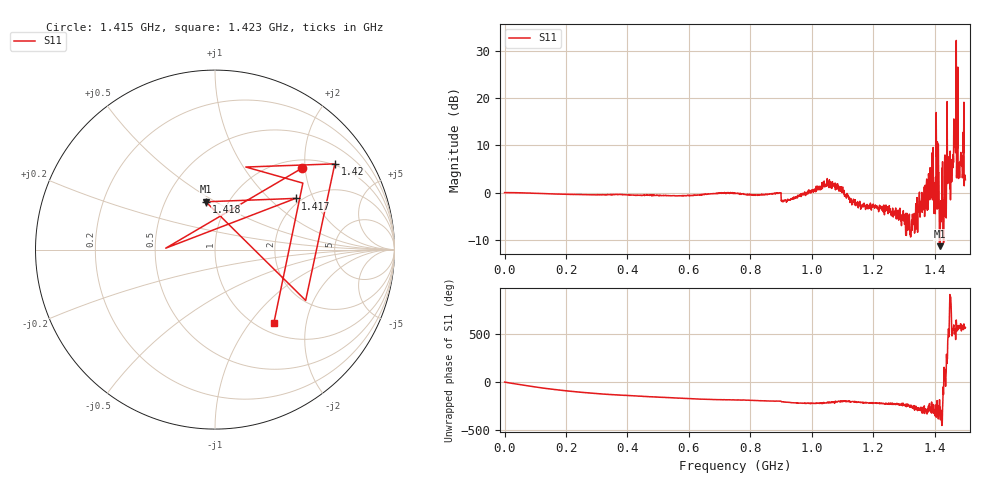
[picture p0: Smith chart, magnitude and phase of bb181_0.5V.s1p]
# Hz S RI R 50
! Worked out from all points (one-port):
!   1515 points, 50 kHz to 1.5 GHz, reference 50 ohm
!   lowest |S11| = -11.3 dB at 1.418 GHz (marker M1), VSWR 1.74, Z = 39.4 + j22.7 ohm
!   |S11| at or under -10 dB: 1.415628 GHz to 1.415999 GHz (371.2 kHz wide, 0.0262 % of centre); 1.417543 GHz to 1.417969 GHz (425.8 kHz wide, 0.03 % of centre); 1.428448 GHz to 1.429699 GHz (1.251 MHz wide, 0.0875 % of centre)
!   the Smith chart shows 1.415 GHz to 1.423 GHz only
!   S11 on the Smith chart (normalised r, x): 1.415 GHz: 1.19, +1.92; 1.417 GHz: 1.86, +1.48; 1.418 GHz: 0.79, +0.45; 1.42 GHz: 0.96, +2.82; 1.423 GHz: 1.18, -1.32
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50000  0.9993 0.000244
1.882866e8  0.0607 -0.958
3.755325e8  -0.6661 -0.6866
5.627784e8  -0.8929 -0.2317
7.500243e8  -0.9837 0.0748
9.382609e8  -0.711 0.4637
1.125507e9  -0.7449 0.3665
1.312753e9  -0.2556 0.3088
1.401917e9  -0.3333 0.4969
1.414797e9  0.4833 0.4528
1.416778e9  0.4488 0.2852
1.417769e9  -0.0511 0.2664
1.41975e9  0.6675 0.4776
1.422722e9  0.3284 -0.4064
1.43263e9  -1.622 1.69
1.442537e9  0.564 1.111
1.449472e9  -1.093 -0.0892
1.461361e9  -1.723 -1.171
1.462351e9  -3.748 -4.685
1.463342e9  -2.968 2.392
1.467305e9  -2.901 -0.4526
1.468296e9  0.4589 2.598
1.476221e9  -1.662 -0.0347
1.477212e9  -1.407 -0.0764
1.478203e9  -1.447 -1.43
1.482166e9  -2.014 -0.621
1.483156e9  -1.572 -1.155
1.499999e9  -1.257 -0.532
